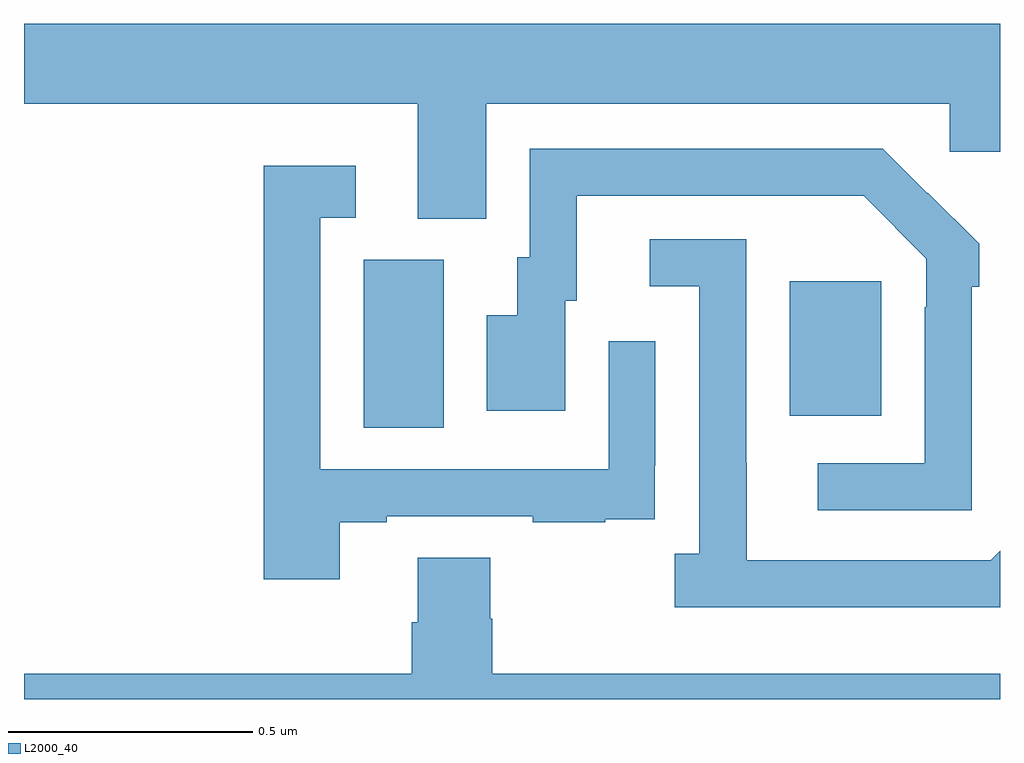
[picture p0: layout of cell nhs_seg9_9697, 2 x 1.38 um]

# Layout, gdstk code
import gdstk
lib = gdstk.Library(unit=1e-6, precision=1e-09)
def R(c, l, rs):  # rectangles x0, y0, x1, y1
    for r in rs: c.add(gdstk.rectangle(r[:2], r[2:], *l))
def P(c, l, *ps):  # polygons
    for p in ps: c.add(gdstk.Polygon(p, *l))
L2000_40 = (2000, 40)

nhs_seg9_9697 = lib.new_cell('nhs_seg9_9697')
R(nhs_seg9_9697, L2000_40, [(233.696,1229.056,233.86,1229.4), (234.569,1229.081,234.757,1229.356)])
P(nhs_seg9_9697, L2000_40, [(233.947,1229.72),(234.897,1229.72),(234.897,1229.622),(235,1229.622),(235,1229.884),(233,1229.884),(233,1229.72),(233.807,1229.72),(233.807,1229.485),(233.947,1229.485)],
  [(234.942,1229.345),(234.957,1229.345),(234.957,1229.433),(234.852,1229.538),(234.851,1229.537),(234.76,1229.628),(234.036,1229.628),(234.036,1229.406),(234.011,1229.406),(234.011,1229.287),(233.948,1229.287),(233.948,1229.091),(234.109,1229.091),(234.109,1229.316),(234.133,1229.316),(234.133,1229.532),(234.721,1229.532),(234.849,1229.403),(234.849,1229.303),(234.846,1229.303),(234.846,1228.983),(234.627,1228.983),(234.627,1228.887),(234.942,1228.887)],
  [(233.647,1228.863),(233.743,1228.863),(233.743,1228.875),(234.043,1228.875),(234.043,1228.863),(234.191,1228.863),(234.191,1228.869),(234.293,1228.869),(234.293,1228.978),(234.294,1228.978),(234.294,1229.233),(234.198,1229.233),(234.198,1228.971),(233.607,1228.971),(233.607,1229.487),(233.68,1229.487),(233.68,1229.593),(233.491,1229.593),(233.491,1228.746),(233.647,1228.746)],
  [(235,1228.804),(234.981,1228.785),(234.481,1228.785),(234.481,1228.985),(234.48,1228.985),(234.48,1229.442),(234.282,1229.442),(234.282,1229.346),(234.384,1229.346),(234.384,1228.798),(234.333,1228.798),(234.333,1228.688),(235,1228.688)],
  [(235,1228.552),(233.96,1228.552),(233.96,1228.665),(233.955,1228.665),(233.955,1228.79),(233.807,1228.79),(233.807,1228.658),(233.795,1228.658),(233.795,1228.552),(233,1228.552),(233,1228.5),(235,1228.5)])

lib.write_gds('nhs_seg9_9697.gds')
